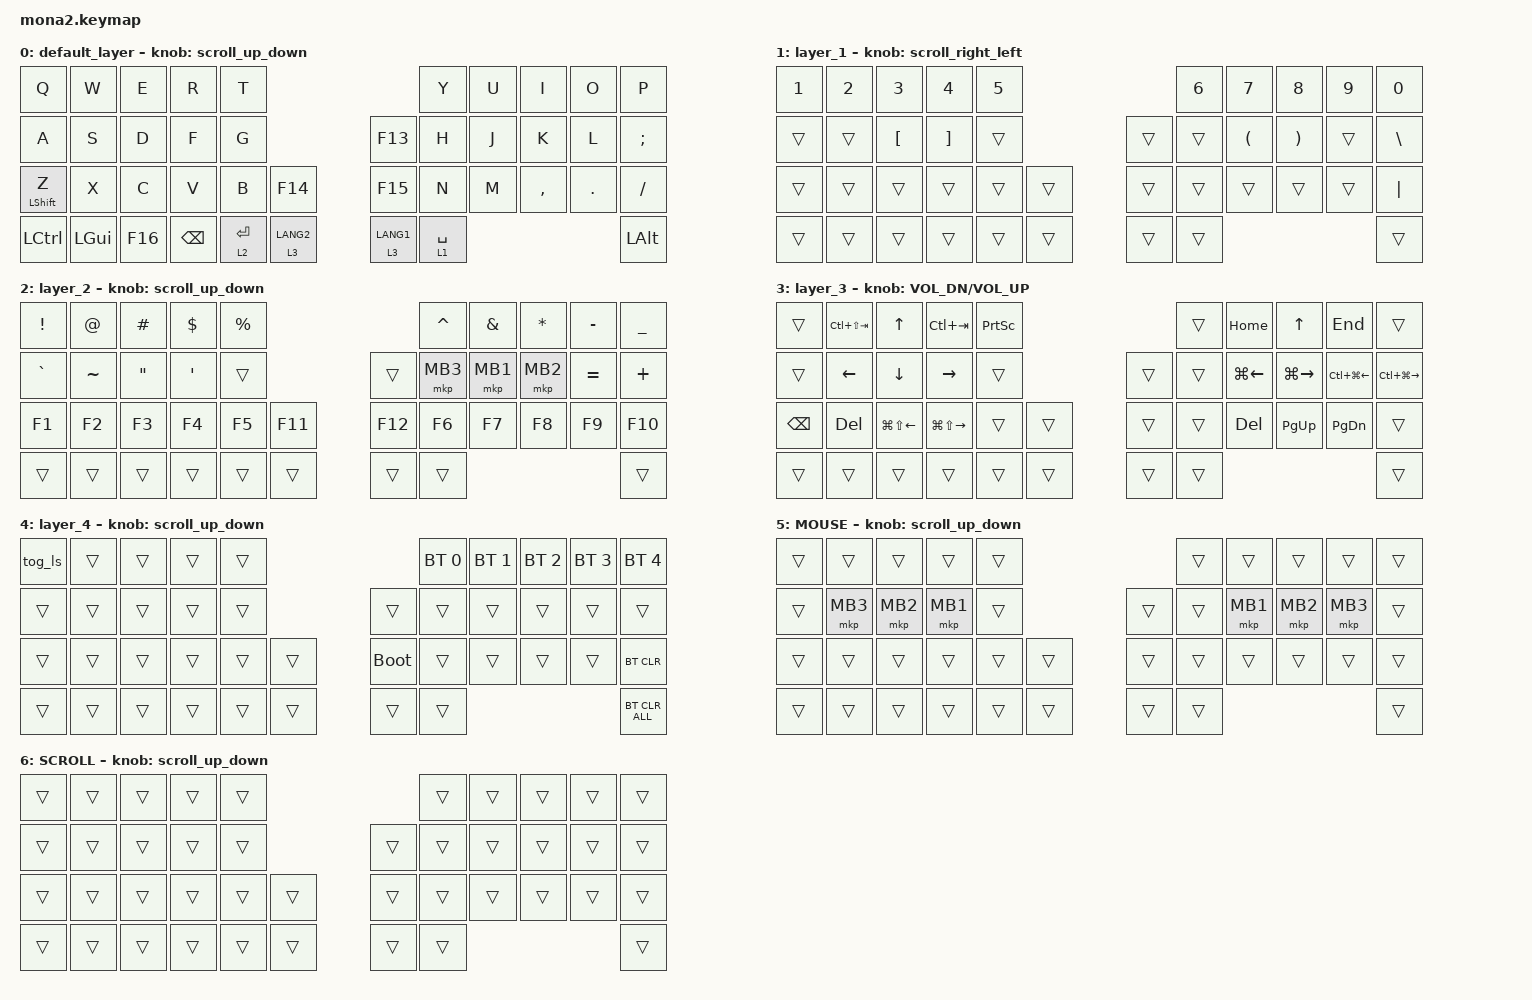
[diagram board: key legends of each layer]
#include <input/processors.dtsi>
#include <dt-bindings/zmk/input_transform.h>
#include <zephyr/dt-bindings/input/input-event-codes.h>
#include <layout_shift_kp_override.dtsi>
#include <behaviors.dtsi>
#include <dt-bindings/zmk/bt.h>
#include <dt-bindings/zmk/keys.h>
#include <dt-bindings/zmk/pointing.h>

#define ZMK_POINTING_DEFAULT_SCRL_VAL 100
#define MOUSE 5
#define SCROLL 6

&mt {
    flavor = "balanced";
    quick-tap-ms = <0>;
};

&lt {
    quick-tap-ms = <300>;
    flavor = "balanced";
};

/ {
    combos {
        compatible = "zmk,combos";

        layer4_ESC {
            bindings = <&lt 4 ESC>;
            key-positions = <39 38>;
        };

        tab {
            bindings = <&kp TAB>;
            key-positions = <11 12>;
        };
    };

    macros {
        to_layer_0: to_layer_0 {
            compatible = "zmk,behavior-macro-one-param";
            #binding-cells = <1>;
            bindings = <&to 0 &macro_param_1to1 &kp MACRO_PLACEHOLDER>;
            label = "TO_LAYER_0";
        };
    };

    behaviors {
        lt_to_layer_0: lt_to_layer_0 {
            compatible = "zmk,behavior-hold-tap";
            label = "LAYER_TAP_TO_0";
            bindings = <&mo>, <&to_layer_0>;

            #binding-cells = <2>;
            tapping-term-ms = <200>;
        };

        scroll_up_down: mouse_wheel_up_down {
            compatible = "zmk,behavior-sensor-rotate";
            #sensor-binding-cells = <0>;
            bindings = <&msc SCRL_DOWN>, <&msc SCRL_UP>;

            tap-ms = <20>;
        };

        scroll_right_left: mouse_wheel_right_left {
            compatible = "zmk,behavior-sensor-rotate";
            #sensor-binding-cells = <0>;
            bindings = <&msc SCRL_LEFT>, <&msc SCRL_RIGHT>;

            tap-ms = <20>;
        };
    };

    keymap {
        compatible = "zmk,keymap";

        default_layer {
            bindings = <
&kp Q             &kp W         &kp E    &kp R          &kp T                                                          &kp Y        &kp U  &kp I      &kp O    &kp P
&kp A             &kp S         &kp D    &kp F          &kp G                                  &kp F13                 &kp H        &kp J  &kp K      &kp L    &kp SEMI
&mt LSHFT Z  &kp X         &kp C    &kp V          &kp B        &kp F14                   &kp F15                 &kp N        &kp M  &kp COMMA  &kp DOT  &kp SLASH
&kp LCTRL         &kp LGUI  &kp F16  &kp BKSP  &lt 2 ENTER  &lt_to_layer_0 3 LANG2    &lt_to_layer_0 3 LANG1  &lt 1 SPACE                             &kp LALT
            >;

            sensor-bindings = <&scroll_up_down>;
        };

        layer_1 {
            bindings = <
&kp N1  &kp N2  &kp N3    &kp N4    &kp N5                    &kp N6  &kp N7                &kp N8                 &kp N9  &kp N0
&trans  &trans  &kp LBKT  &kp RBKT  &trans            &trans  &trans  &kp LPAR  &kp RPAR  &trans  &kp BSLH
&trans  &trans  &trans    &trans    &trans  &trans    &trans  &trans  &trans                &trans                 &trans  &kp PIPE
&trans  &trans  &trans    &trans    &trans  &trans    &trans  &trans                                                       &trans
            >;

            sensor-bindings = <&scroll_right_left>;
        };

        layer_2 {
            bindings = <
&kp EXCL  &kp AT  &kp HASH          &kp DLLR  &kp PRCNT                      &kp CARET  &kp AMPS  &kp ASTRK  &kp MINUS  &kp UNDER
&kp GRAVE        &kp TILDE    &kp DQT  &kp SQT     &trans                  &trans   &mkp MB3   &mkp MB1       &mkp MB2      &kp EQUAL  &kp PLUS
&kp F1           &kp F2       &kp F3             &kp F4      &kp F5       &kp F11    &kp F12  &kp F6     &kp F7         &kp F8        &kp F9     &kp F10
&trans           &trans       &trans             &trans      &trans       &trans     &trans   &trans                                             &trans
            >;

            sensor-bindings = <&scroll_up_down>;
        };

        layer_3 {
            bindings = <
&trans         &kp LC(LS(TAB))     &kp UP                  &kp LC(TAB)              &kp PRINTSCREEN                            &trans  &kp HOME        &kp UP    &kp END          &trans
&trans          &kp LEFT  &kp DOWN  &kp RIGHT  &trans           &trans  &trans  &kp LG(LEFT)  &kp LG(RIGHT)     &kp LC(LG(LEFT))   &kp LC(LG(RIGHT))
&kp BACKSPACE  &kp DELETE          &kp LG(LS(LEFT))  &kp LG(LS(RIGHT))  &trans                   &trans    &trans  &trans  &kp DEL      &kp PG_UP     &kp PG_DN    &trans
&trans         &trans              &trans                  &trans                   &trans                   &trans    &trans  &trans                                                   &trans
            >;

            sensor-bindings = <&inc_dec_kp C_VOL_DN C_VOL_UP>;
        };

        layer_4 {
            bindings = <
&tog_ls &trans  &trans  &trans  &trans                         &bt BT_SEL 0  &bt BT_SEL 1  &bt BT_SEL 2  &bt BT_SEL 3  &bt BT_SEL 4
&trans  &trans  &trans  &trans  &trans            &trans       &trans        &trans        &trans        &trans        &trans
&trans  &trans  &trans  &trans  &trans  &trans    &bootloader  &trans        &trans        &trans        &trans        &bt BT_CLR
&trans  &trans  &trans  &trans  &trans  &trans    &trans       &trans                                                  &bt BT_CLR_ALL
            >;

            sensor-bindings = <&scroll_up_down>;
        };

        MOUSE {
            bindings = <
&trans  &trans    &trans    &trans    &trans                    &trans  &trans    &trans    &trans    &trans
&trans  &mkp MB3  &mkp MB2  &mkp MB1  &trans            &trans  &trans  &mkp MB1  &mkp MB2  &mkp MB3  &trans
&trans  &trans    &trans    &trans    &trans  &trans    &trans  &trans  &trans    &trans    &trans    &trans
&trans  &trans    &trans    &trans    &trans  &trans    &trans  &trans                                &trans
            >;

            sensor-bindings = <&scroll_up_down>;
        };

        SCROLL {
            bindings = <
&trans  &trans  &trans  &trans  &trans                    &trans  &trans  &trans  &trans  &trans
&trans  &trans  &trans  &trans  &trans            &trans  &trans  &trans  &trans  &trans  &trans
&trans  &trans  &trans  &trans  &trans  &trans    &trans  &trans  &trans  &trans  &trans  &trans
&trans  &trans  &trans  &trans  &trans  &trans    &trans  &trans                          &trans
            >;

            sensor-bindings = <&scroll_up_down>;
        };
    };
};
